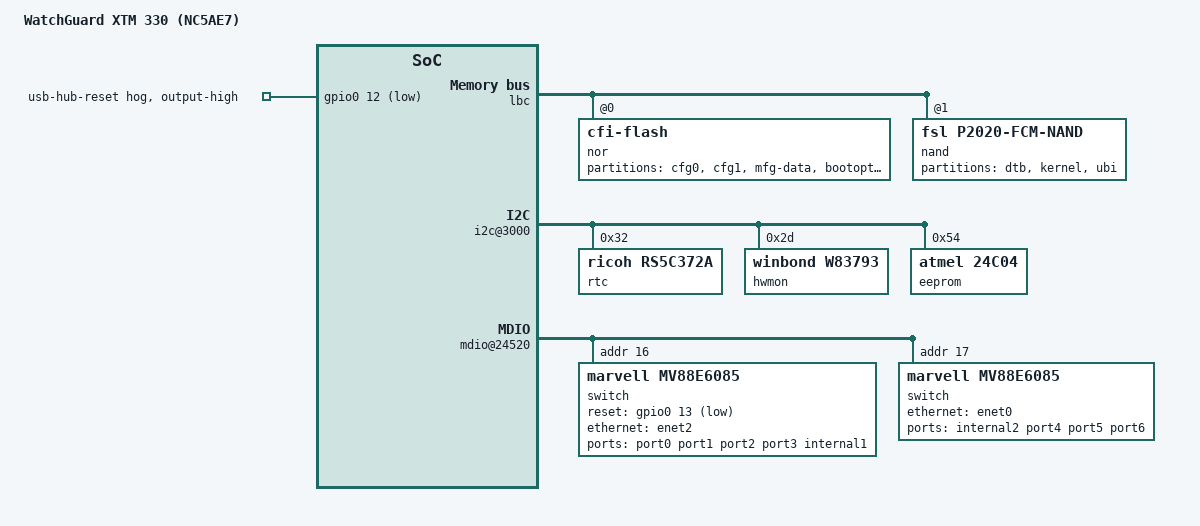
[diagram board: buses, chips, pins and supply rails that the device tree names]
// SPDX-License-Identifier: GPL-2.0-or-later or MIT
/*
 * WatchGuard XTM 330 (NC5AE7) Device Tree Source File
 *
 * Copyright (C) 2025 Pawel Dembicki <paweldembicki@gmail.com>
 */

/dts-v1/;

/include/ "fsl/p2020si-pre.dtsi"

#include <dt-bindings/gpio/gpio.h>
#include <dt-bindings/input/input.h>

/ {
	model = "WatchGuard XTM 330 (NC5AE7)";
	compatible = "watchguard,xtm330";

	aliases {
		ethernet0 = &enet0;
		ethernet1 = &enet2;
		serial0 = &serial0;
		serial1 = &serial1;
		pci0 = &pci2;
	};

	chosen {
		bootargs-override = "console=ttyS0,115200";
	};

	memory {
		device_type = "memory";
	};

	lbc: localbus@ffe05000 {
		reg = <0 0xffe05000 0 0x1000>;

		/* NOR and NAND Flashes */
		ranges = <0x0 0x0 0x0 0xefe00000 0x00200000>,
			 <0x1 0x0 0x0 0xffa00000 0x00040000>;

		nor@0,0 {
			compatible = "cfi-flash";
			reg = <0x0 0x0 0x200000>;
			bank-width = <2>;
			device-width = <1>;

			partitions {
				compatible = "fixed-partitions";
				#address-cells = <1>;
				#size-cells = <1>;

				partition@0 {
					label = "cfg0";
					reg = <0x00000000 0x00020000>;
				};

				partition@20000 {
					label = "cfg1";
					reg = <0x00020000 0x00010000>;
				};

				partition@30000 {
					label = "mfg-data";
					reg = <0x00030000 0x00010000>;
				};

				partition@40000 {
					label = "bootopt";
					reg = <0x00040000 0x000b0000>;
				};

				partition@f0000 {
					label = "u-boot-env";
					reg = <0x000f0000 0x00010000>;
				};

				partition@100000 {
					label = "u-boot";
					reg = <0x00100000 0x00080000>;
				};

				partition@180000 {
					label = "u-boot-failsafe";
					reg = <0x00180000 0x00080000>;
				};
			};
		};

		nand@1,0 {
			#address-cells = <1>;
			#size-cells = <1>;
			compatible = "fsl,p2020-fcm-nand", "fsl,elbc-fcm-nand";
			reg = <0x1 0x0 0x40000>;

			partitions {
				compatible = "fixed-partitions";
				#address-cells = <1>;
				#size-cells = <1>;

				partition@0 {
					label = "dtb";
					reg = <0x00000000 0x00020000>;
				};

				partition@20000 {
					label = "kernel";
					reg = <0x00020000 0x00500000>;
				};

				partition@520000 {
					label = "ubi";
					reg = <0x00520000 0x1fae0000>;
				};
			};
		};
	};

	soc: soc@ffe00000 {
		ranges = <0x0 0x0 0xffe00000 0x100000>;

		gpio0: gpio-controller@fc00 {
			usb-hub-reset-hog {
				gpio-hog;
				gpios = <12 GPIO_ACTIVE_LOW>;
				output-high;
				line-name = "usb-hub-reset";
			};
		};

		i2c@3000 {
			rtc@32 {
				compatible = "ricoh,rs5c372a";
				reg = <0x32>;
			};

			hwmon@2d {
				compatible = "winbond,w83793";
				reg = <0x2d>;
			};

			eeprom@54 {
				compatible = "atmel,24c04";
				reg = <0x54>;

				nvmem-layout {
					compatible = "fixed-layout";
					#address-cells = <1>;
					#size-cells = <1>;

					mac_addr_0: macaddr@0 {
						compatible = "mac-base";
						reg = <0x4e 0x6>;
						#nvmem-cell-cells = <1>;
					};
				};
			};
		};

		usb@22000 {
			phy_type = "ulpi";
			dr_mode = "host";
		};

		mdio@24520 {
			switch@10 {
				compatible = "marvell,mv88e6085";
				#address-cells = <1>;
				#size-cells = <0>;
				reg = <0x10>;
				dsa,member = <0 0>;

				reset-gpios = <&gpio0 13 GPIO_ACTIVE_LOW>;

				ports {
					#address-cells = <1>;
					#size-cells = <0>;

					port@0 {
						reg = <0>;
						label = "port0";

						nvmem-cells = <&mac_addr_0 0>;
						nvmem-cell-names = "mac-address";
					};

					port@1 {
						reg = <1>;
						label = "port1";

						nvmem-cells = <&mac_addr_0 1>;
						nvmem-cell-names = "mac-address";
					};

					port@2 {
						reg = <2>;
						label = "port2";

						nvmem-cells = <&mac_addr_0 2>;
						nvmem-cell-names = "mac-address";
					};

					port@3 {
						reg = <3>;
						label = "port3";

						nvmem-cells = <&mac_addr_0 3>;
						nvmem-cell-names = "mac-address";
					};

					port@4 {
						reg = <4>;
						label = "internal1";
					};

					port@5 {
						reg = <5>;
						phy-mode = "rgmii-id";
						ethernet = <&enet2>;
						fixed-link {
							speed = <1000>;
							full-duplex;
						};
					};
				};
			};

			switch@11 {
				compatible = "marvell,mv88e6085";
				#address-cells = <1>;
				#size-cells = <0>;
				reg = <0x11>;
				dsa,member = <1 0>;

				ports {
					#address-cells = <1>;
					#size-cells = <0>;

					port@0 {
						reg = <0>;
						label = "internal2";
					};

					port@1 {
						reg = <1>;
						label = "port4";

						nvmem-cells = <&mac_addr_0 4>;
						nvmem-cell-names = "mac-address";
					};

					port@2 {
						reg = <2>;
						label = "port5";

						nvmem-cells = <&mac_addr_0 5>;
						nvmem-cell-names = "mac-address";
					};

					port@3 {
						reg = <3>;
						label = "port6";

						nvmem-cells = <&mac_addr_0 6>;
						nvmem-cell-names = "mac-address";
					};

					port@5 {
						reg = <5>;
						phy-mode = "rgmii-id";
						ethernet = <&enet0>;
						fixed-link {
							speed = <1000>;
							full-duplex;
						};
					};
				};
			};
		};

		mdio@25520 {
			status = "disabled";
		};

		mdio@26520 {
			status = "disabled";
		};

		enet0: ethernet@24000 {
			phy-connection-type = "rgmii-id";

			fixed-link {
				speed = <1000>;
				full-duplex;
			};
		};

		enet1: ethernet@25000 {
			status = "disabled";
		};

		enet2: ethernet@26000 {
			phy-connection-type = "rgmii-id";

			fixed-link {
				speed = <1000>;
				full-duplex;
			};
		};
	};

	pci0: pcie@ffe08000 {
		reg = <0 0xffe08000 0 0x1000>;
		ranges = <0x2000000 0x0 0xc0000000 0x0 0xc0000000 0x0 0x20000000>,
			 <0x1000000 0x0 0x00000000 0x0 0xffc20000 0x0 0x10000>;
		status = "disabled";

		pcie@0 {
			ranges = <0x2000000 0x0 0xc0000000
				  0x2000000 0x0 0xc0000000
				  0x0 0x20000000>,
				 <0x1000000 0x0 0x0
				  0x1000000 0x0 0x0
				  0x0 0x100000>;
		};
	};

	pci1: pcie@ffe09000 {
		reg = <0 0xffe09000 0 0x1000>;
		ranges = <0x2000000 0x0 0xa0000000 0 0xa0000000 0x0 0x20000000>,
			  <0x1000000 0x0 0x00000000 0 0xffc10000 0x0 0x10000>;
		status = "disabled";

		pcie@0 {
			ranges = <0x2000000 0x0 0xa0000000
				  0x2000000 0x0 0xa0000000
				  0x0 0x20000000>,
				 <0x1000000 0x0 0x0
				  0x1000000 0x0 0x0
				  0x0 0x100000>;
		};
	};

	pci2: pcie@ffe0a000 {
		reg	= <0 0xffe0a000 0 0x1000>;
		ranges = <0x2000000 0x0 0x80000000 0x0 0x80000000 0x0 0x20000000>,
			 <0x1000000 0x0 0x00000000 0x0 0xffc00000 0x0 0x10000>;
		pcie@0 {
			ranges = <0x2000000 0x0 0x80000000
				  0x2000000 0x0 0x80000000
				  0x0 0x20000000>,
				 <0x1000000 0x0 0x0
				  0x1000000 0x0 0x0
				  0x0 0x10000>;
		};
	};
};

/include/ "fsl/p2020si-post.dtsi"
